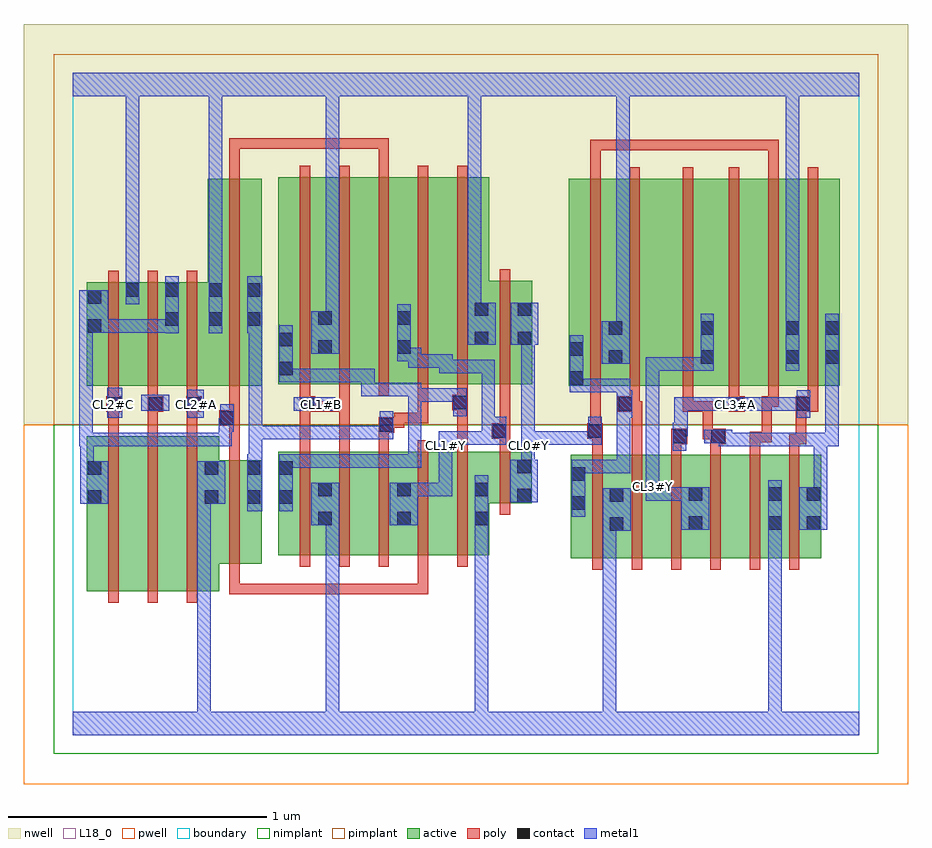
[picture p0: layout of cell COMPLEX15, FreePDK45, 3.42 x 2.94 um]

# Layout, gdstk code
import gdstk
lib = gdstk.Library(unit=1e-6, precision=1e-09)
def R(c, l, rs):  # rectangles x0, y0, x1, y1
    for r in rs: c.add(gdstk.rectangle(r[:2], r[2:], *l))
def A(c, l, x, y, w, h, nx, ny, dx, dy):  # array of equal rectangles
    R(c, l, [(x+i*dx, y+j*dy, x+i*dx+w, y+j*dy+h) for i in range(nx) for j in range(ny)])
active = (1, 0)
pwell = (2, 0)
nwell = (3, 0)
nimplant = (4, 0)
pimplant = (5, 0)
poly = (9, 0)
contact = (10, 0)
metal1 = (11, 0)
L18_0 = (18, 0)
boundary = (235, 0)

complex15 = lib.new_cell('COMPLEX15')
R(complex15, active, [(0.054,0.556,0.234,1.156), (0.054,0.556,0.114,1.156), (0.234,0.556,0.386,1.156), (0.386,0.556,0.566,1.156), (0.506,0.662,0.73,1.062), (1.924,0.684,2.132,1.084), (2.072,0.684,2.256,1.084), (2.256,0.684,2.436,1.084), (2.376,0.684,2.56,1.084), (2.56,0.684,2.744,1.084), (2.684,0.684,2.892,1.084), (0.794,0.696,1.006,1.096), (0.946,0.696,1.126,1.096), (1.126,0.696,1.31,1.096), (1.25,0.696,1.43,1.096), (1.43,0.696,1.61,1.096), (0.506,0.756,0.566,1.062), (0.67,0.756,0.73,1.062), (0.794,0.756,0.854,1.096), (0.946,0.756,1.006,0.98), (1.25,0.756,1.31,0.98), (1.924,0.756,1.984,1.084), (2.072,0.756,2.132,0.958), (2.376,0.756,2.436,0.962), (2.684,0.756,2.744,1.084), (2.832,0.756,2.892,1.084), (1.55,0.808,1.61,0.98), (1.55,0.896,1.774,1.096), (1.714,0.896,1.774,1.096), (0.054,1.35,0.262,1.75), (0.054,1.35,0.114,1.724), (0.202,1.35,0.414,1.75), (0.202,1.35,0.262,1.75), (0.354,1.35,0.414,1.75), (0.354,1.35,0.582,1.75), (0.522,1.35,0.73,2.15), (0.67,1.35,0.73,2.044), (1.916,1.35,1.976,2.044), (1.916,1.35,2.128,2.15), (2.068,1.35,2.248,2.15), (2.248,1.35,2.482,2.15), (2.422,1.35,2.632,2.15), (2.632,1.35,2.812,2.15), (2.752,1.35,2.964,2.15), (2.904,1.35,2.964,2.044), (0.794,1.356,1.006,2.156), (0.794,1.356,0.854,2.044), (0.946,1.356,1.126,2.156), (0.946,1.356,1.006,2.044), (1.126,1.356,1.31,2.156), (1.25,1.356,1.43,2.156), (1.25,1.356,1.31,2.044), (1.43,1.356,1.61,2.156), (1.55,1.356,1.776,1.756), (1.55,1.356,1.61,1.676), (1.716,1.356,1.776,1.756), (2.068,1.432,2.128,2.044), (2.422,1.432,2.482,2.044), (2.752,1.432,2.812,2.044), (0.522,1.578,0.582,1.764)])
R(complex15, pwell, [(-0.188,-0.188,3.228,1.2)])
R(complex15, nwell, [(-0.188,1.2,3.228,2.748)])
R(complex15, nimplant, [(-0.072,-0.072,3.112,1.2)])
R(complex15, pimplant, [(-0.072,1.2,3.112,2.632)])
A(complex15, poly, 0.138, 0.512, 0.04, 0.688, 3, 1, 0.152, 0)
A(complex15, poly, 2.008, 0.64, 0.04, 0.488, 6, 1, 0.152, 0)
A(complex15, poly, 0.878, 0.652, 0.04, 0.488, 5, 1, 0.152, 0)
A(complex15, poly, 0.138, 1.16, 0.04, 0.13, 3, 1, 0.152, 0)
A(complex15, poly, 0.138, 1.27, 0.04, 0.076, 3, 1, 0.152, 0)
A(complex15, poly, 2.536, 1.27, 0.04, 0.076, 3, 1, 0.152, 0)
A(complex15, poly, 0.138, 1.306, 0.04, 0.488, 3, 1, 0.152, 0)
A(complex15, poly, 2.536, 1.306, 0.04, 0.888, 3, 1, 0.152, 0)
A(complex15, poly, 0.878, 1.312, 0.04, 0.888, 5, 1, 0.152, 0)
R(complex15, poly, [(0.606,0.546,0.646,0.586), (0.606,0.546,0.646,0.586), (0.606,0.546,0.646,0.586), (0.606,0.546,0.964,0.586), (0.606,0.546,0.646,0.658), (0.924,0.546,0.964,0.586), (0.924,0.546,0.964,0.586), (0.924,0.546,0.964,0.586), (0.924,0.546,1.07,0.586), (1.03,0.546,1.07,0.586), (1.03,0.546,1.07,0.586), (1.03,0.546,1.07,0.586), (1.03,0.546,1.176,0.586), (1.136,0.546,1.176,0.586), (1.136,0.546,1.176,0.586), (1.136,0.546,1.176,0.586), (1.136,0.546,1.374,0.586), (1.334,0.546,1.374,0.692), (1.334,0.546,1.374,0.586), (1.334,0.546,1.374,0.586), (1.334,0.546,1.374,0.586), (0.606,0.618,0.646,1.106), (1.65,0.852,1.69,1.14), (0.606,1.066,0.646,1.236), (2.008,1.088,2.048,1.186), (2.16,1.088,2.2,1.29), (2.312,1.088,2.352,1.164), (2.464,1.088,2.504,1.164), (2.616,1.088,2.656,1.172), (2.768,1.088,2.808,1.164), (0.878,1.1,0.918,1.29), (1.03,1.1,1.07,1.29), (1.182,1.1,1.222,1.208), (1.486,1.1,1.526,1.296), (1.65,1.1,1.69,1.186), (2.312,1.124,2.374,1.184), (2.464,1.124,2.524,1.184), (2.768,1.124,2.834,1.164), (2.794,1.124,2.834,1.29), (2.616,1.132,2.702,1.172), (2.662,1.132,2.702,1.31), (2.434,1.144,2.474,1.29), (2.434,1.144,2.474,1.184), (2.434,1.144,2.504,1.184), (1.62,1.146,1.69,1.206), (1.988,1.146,2.048,1.206), (1.65,1.166,1.69,1.206), (1.65,1.166,1.69,1.206), (1.65,1.166,1.69,1.352), (2,1.166,2.04,1.206), (2,1.166,2.04,1.206), (2,1.166,2.04,1.346), (1.182,1.168,1.242,1.228), (1.202,1.188,1.282,1.228), (1.242,1.188,1.282,1.228), (1.242,1.188,1.282,1.246), (0.566,1.196,0.646,1.256), (1.242,1.206,1.282,1.246), (1.242,1.206,1.374,1.246), (1.334,1.206,1.374,1.352), (1.334,1.206,1.374,1.246), (0.606,1.216,0.646,1.256), (0.606,1.216,0.646,1.256), (0.606,1.216,0.646,1.346), (0.13,1.25,0.19,1.31), (0.138,1.25,0.178,1.29), (0.138,1.25,0.178,1.29), (0.29,1.25,0.33,1.29), (0.29,1.25,0.33,1.29), (0.29,1.25,0.35,1.31), (0.44,1.25,0.5,1.31), (0.442,1.25,0.482,1.29), (0.442,1.25,0.482,1.29), (0.878,1.25,0.918,1.29), (0.878,1.25,0.918,1.29), (0.878,1.25,1.07,1.29), (0.878,1.25,0.938,1.31), (1.03,1.25,1.07,1.29), (1.03,1.25,1.07,1.29), (1.03,1.25,1.07,1.29), (1.03,1.25,1.07,1.29), (1.03,1.25,1.07,1.29), (1.03,1.25,1.07,1.352), (2.106,1.25,2.192,1.31), (2.152,1.25,2.192,1.29), (2.152,1.25,2.2,1.29), (2.358,1.25,2.398,1.29), (2.358,1.25,2.474,1.29), (2.358,1.25,2.398,1.346), (2.434,1.25,2.474,1.29), (2.536,1.25,2.596,1.31), (2.794,1.25,2.88,1.31), (1.466,1.256,1.526,1.316), (1.486,1.256,1.526,1.296), (1.486,1.256,1.526,1.296), (0.878,1.27,0.918,1.352), (2.152,1.27,2.192,1.346), (2.662,1.27,2.728,1.31), (1.486,1.276,1.526,1.352), (0.606,1.306,0.646,2.194), (2,1.306,2.04,2.194), (2.152,1.306,2.192,2.194), (2.358,1.306,2.398,2.194), (1.65,1.312,1.69,1.8), (0.606,2.154,0.646,2.306), (2,2.154,2.04,2.3), (2.688,2.154,2.728,2.3), (1.182,2.16,1.222,2.306), (2,2.26,2.04,2.3), (2,2.26,2.146,2.3), (2.106,2.26,2.146,2.3), (2.106,2.26,2.146,2.3), (2.106,2.26,2.146,2.3), (2.106,2.26,2.368,2.3), (2.328,2.26,2.368,2.3), (2.328,2.26,2.368,2.3), (2.328,2.26,2.368,2.3), (2.328,2.26,2.55,2.3), (2.51,2.26,2.55,2.3), (2.51,2.26,2.55,2.3), (2.51,2.26,2.55,2.3), (2.51,2.26,2.702,2.3), (2.662,2.26,2.728,2.3), (2.662,2.26,2.702,2.3), (2.662,2.26,2.702,2.3), (0.606,2.266,0.646,2.306), (0.606,2.266,0.646,2.306), (0.606,2.266,0.646,2.306), (0.606,2.266,0.906,2.306), (0.866,2.266,0.906,2.306), (0.866,2.266,0.906,2.306), (0.866,2.266,0.906,2.306), (0.866,2.266,1.07,2.306), (1.03,2.266,1.07,2.306), (1.03,2.266,1.07,2.306), (1.03,2.266,1.07,2.306), (1.03,2.266,1.176,2.306), (1.136,2.266,1.176,2.306), (1.136,2.266,1.222,2.306), (1.182,2.266,1.222,2.306)])
R(complex15, contact, [(2.076,0.79,2.128,0.842), (2.38,0.794,2.432,0.846), (2.688,0.794,2.74,0.846), (2.836,0.794,2.888,0.846), (0.95,0.812,1.002,0.864), (1.254,0.812,1.306,0.864), (1.554,0.812,1.606,0.864), (1.928,0.872,1.98,0.924), (0.058,0.894,0.11,0.946), (0.51,0.894,0.562,0.946), (0.674,0.894,0.726,0.946), (0.798,0.894,0.85,0.946), (1.718,0.9,1.77,0.952), (2.076,0.902,2.128,0.954), (2.38,0.906,2.432,0.958), (2.688,0.906,2.74,0.958), (2.836,0.906,2.888,0.958), (0.95,0.924,1.002,0.976), (1.254,0.924,1.306,0.976), (1.554,0.924,1.606,0.976), (1.928,0.984,1.98,1.036), (0.058,1.006,0.11,1.058), (0.51,1.006,0.562,1.058), (0.674,1.006,0.726,1.058), (0.798,1.006,0.85,1.058), (1.718,1.012,1.77,1.064), (2.318,1.128,2.37,1.18), (2.468,1.128,2.52,1.18), (1.624,1.15,1.676,1.202), (1.992,1.15,2.044,1.202), (1.186,1.172,1.238,1.224), (0.57,1.2,0.622,1.252), (0.134,1.254,0.186,1.306), (0.294,1.254,0.346,1.306), (0.444,1.254,0.496,1.306), (0.882,1.254,0.934,1.306), (2.11,1.254,2.162,1.306), (2.54,1.254,2.592,1.306), (2.798,1.254,2.85,1.306), (1.47,1.26,1.522,1.312), (1.92,1.354,1.972,1.406), (0.798,1.392,0.85,1.444), (2.072,1.436,2.124,1.488), (2.426,1.436,2.478,1.488), (2.756,1.436,2.808,1.488), (2.908,1.436,2.96,1.488), (1.92,1.466,1.972,1.518), (0.95,1.474,1.002,1.526), (1.254,1.474,1.306,1.526), (0.798,1.504,0.85,1.556), (1.554,1.508,1.606,1.56), (1.72,1.508,1.772,1.56), (2.072,1.548,2.124,1.6), (2.426,1.548,2.478,1.6), (2.756,1.548,2.808,1.6), (2.908,1.548,2.96,1.6), (0.058,1.556,0.11,1.608), (0.358,1.582,0.41,1.634), (0.526,1.582,0.578,1.634), (0.674,1.582,0.726,1.634), (0.95,1.586,1.002,1.638), (1.254,1.586,1.306,1.638), (1.554,1.62,1.606,1.672), (1.72,1.62,1.772,1.672), (0.058,1.668,0.11,1.72), (0.206,1.694,0.258,1.746), (0.358,1.694,0.41,1.746), (0.526,1.694,0.578,1.746), (0.674,1.694,0.726,1.746)])
R(complex15, metal1, [(0,0,3.04,0.092), (0.482,0.04,0.534,0.946), (0.978,0.04,1.03,0.864), (1.554,0.04,1.606,0.836), (2.048,0.04,2.1,0.092), (2.048,0.04,2.1,0.092), (2.048,0.04,2.1,0.842), (2.688,0.04,2.74,0.092), (2.688,0.04,2.74,0.092), (2.688,0.04,2.74,0.092), (2.688,0.04,2.74,0.092), (2.688,0.04,2.74,0.092), (2.688,0.04,2.74,0.092), (2.688,0.04,2.74,0.092), (2.688,0.04,2.74,0.092), (2.688,0.04,2.74,0.092), (2.688,0.04,2.74,0.092), (2.688,0.04,2.74,0.092), (2.688,0.04,2.74,0.092), (2.688,0.04,2.74,0.818), (2.688,0.766,2.74,0.986), (1.554,0.784,1.606,0.836), (1.554,0.784,1.606,0.836), (1.554,0.784,1.606,0.836), (1.554,0.784,1.606,0.836), (1.554,0.784,1.606,0.836), (1.554,0.784,1.606,0.836), (1.554,0.784,1.606,0.836), (1.554,0.784,1.606,0.836), (1.554,0.784,1.606,0.836), (1.554,0.784,1.606,0.836), (1.554,0.784,1.606,0.836), (1.554,0.784,1.606,0.836), (1.554,0.784,1.606,1.004), (2.048,0.79,2.1,0.842), (2.048,0.79,2.1,0.842), (2.048,0.79,2.1,0.842), (2.048,0.79,2.1,0.842), (2.048,0.79,2.1,0.842), (2.048,0.79,2.1,0.842), (2.048,0.79,2.1,0.842), (2.048,0.79,2.1,0.842), (2.048,0.79,2.1,0.842), (2.048,0.79,2.1,0.842), (2.048,0.79,2.156,0.954), (2.352,0.794,2.46,0.958), (2.808,0.794,2.916,0.958), (0.922,0.812,1.03,0.976), (0.978,0.812,1.03,0.864), (0.978,0.812,1.03,0.864), (0.978,0.812,1.03,0.864), (0.978,0.812,1.03,0.864), (0.978,0.812,1.03,0.864), (0.978,0.812,1.03,0.864), (0.978,0.812,1.03,0.864), (0.978,0.812,1.03,0.864), (0.978,0.812,1.03,0.864), (0.978,0.812,1.03,0.864), (0.978,0.812,1.03,0.864), (0.978,0.812,1.03,0.864), (1.226,0.812,1.334,0.976), (1.928,0.844,1.98,1.064), (0.674,0.866,0.732,1.086), (0.798,0.866,0.85,1.086), (0.03,0.894,0.138,1.058), (0.482,0.894,0.534,0.946), (0.482,0.894,0.534,0.946), (0.482,0.894,0.534,0.946), (0.482,0.894,0.534,0.946), (0.482,0.894,0.534,0.946), (0.482,0.894,0.534,0.946), (0.482,0.894,0.534,0.946), (0.482,0.894,0.534,0.946), (0.482,0.894,0.59,1.058), (1.69,0.9,1.798,1.064), (2.214,0.906,2.266,0.958), (2.214,0.906,2.266,0.958), (2.214,0.906,2.266,1.014), (2.214,0.906,2.382,0.958), (2.33,0.906,2.382,0.958), (2.33,0.906,2.404,0.958), (2.864,0.906,2.916,1.168), (1.282,0.924,1.348,0.976), (1.296,0.924,1.348,0.976), (1.296,0.924,1.466,0.976), (1.414,0.924,1.466,0.976), (1.414,0.924,1.466,0.976), (1.414,0.924,1.466,0.976), (1.414,0.924,1.466,1.118), (2.214,0.962,2.266,1.014), (2.214,0.962,2.266,1.014), (2.214,0.962,2.266,1.46), (0.03,1.006,0.082,1.168), (1.734,1.012,1.786,1.118), (1.928,1.012,1.98,1.064), (1.928,1.012,1.98,1.064), (1.928,1.012,2.154,1.064), (2.102,1.012,2.154,1.064), (2.102,1.012,2.154,1.278), (0.68,1.034,0.732,1.196), (0.798,1.034,0.85,1.086), (0.798,1.034,0.85,1.086), (0.798,1.034,1.014,1.086), (0.962,1.034,1.014,1.086), (0.962,1.034,1.014,1.086), (0.962,1.034,1.014,1.086), (0.962,1.034,1.124,1.086), (1.072,1.034,1.124,1.086), (1.072,1.034,1.124,1.086), (1.072,1.034,1.124,1.086), (1.072,1.034,1.348,1.086), (1.296,1.034,1.348,1.086), (1.296,1.034,1.348,1.086), (1.296,1.034,1.348,1.086), (1.296,1.034,1.348,1.34), (1.414,1.066,1.466,1.174), (1.734,1.066,1.786,1.174), (2.318,1.1,2.37,1.208), (0.026,1.116,0.078,1.168), (0.026,1.116,0.078,1.168), (0.026,1.116,0.078,1.608), (0.026,1.116,0.082,1.168), (0.03,1.116,0.082,1.168), (0.03,1.116,0.082,1.168), (0.03,1.116,0.3,1.168), (0.248,1.116,0.3,1.168), (0.248,1.116,0.3,1.168), (0.248,1.116,0.3,1.168), (0.248,1.116,0.424,1.168), (0.372,1.116,0.424,1.168), (0.372,1.116,0.424,1.168), (0.372,1.116,0.424,1.168), (0.372,1.116,0.616,1.168), (0.564,1.116,0.616,1.224), (2.496,1.116,2.73,1.168), (2.496,1.116,2.548,1.18), (2.678,1.116,2.73,1.168), (2.678,1.116,2.73,1.168), (2.678,1.116,2.73,1.168), (2.678,1.116,2.916,1.168), (2.864,1.116,2.916,1.168), (2.864,1.116,2.916,1.168), (2.864,1.116,2.96,1.168), (2.908,1.116,2.96,1.46), (1.414,1.122,1.466,1.174), (1.414,1.122,1.466,1.174), (1.414,1.122,1.632,1.174), (1.58,1.122,1.632,1.174), (1.58,1.122,1.632,1.174), (1.58,1.122,1.632,1.174), (1.58,1.122,1.676,1.174), (1.58,1.122,1.632,1.45), (1.624,1.122,1.676,1.23), (1.734,1.122,1.786,1.174), (1.734,1.122,1.786,1.174), (1.734,1.122,1.786,1.174), (1.734,1.122,1.786,1.174), (1.734,1.122,2.044,1.174), (1.734,1.122,1.786,1.56), (1.992,1.122,2.044,1.23), (2.44,1.128,2.548,1.18), (2.496,1.128,2.548,1.18), (0.68,1.144,0.732,1.196), (0.68,1.144,0.732,1.196), (0.68,1.144,0.732,1.196), (0.68,1.144,0.732,1.196), (0.68,1.144,0.732,1.196), (0.68,1.144,0.904,1.196), (0.68,1.144,0.732,1.606), (0.852,1.144,0.904,1.196), (0.852,1.144,1.014,1.196), (0.962,1.144,1.014,1.196), (0.962,1.144,1.014,1.196), (0.962,1.144,1.014,1.196), (0.962,1.144,1.124,1.196), (1.072,1.144,1.124,1.196), (1.072,1.144,1.238,1.196), (1.186,1.144,1.238,1.252), (2.318,1.156,2.376,1.208), (2.324,1.156,2.376,1.208), (2.324,1.156,2.376,1.306), (0.564,1.172,0.622,1.224), (0.57,1.172,0.622,1.28), (0.134,1.226,0.192,1.342), (0.444,1.226,0.506,1.336), (2.102,1.226,2.154,1.278), (2.102,1.226,2.154,1.278), (2.102,1.226,2.154,1.278), (2.102,1.226,2.162,1.278), (2.102,1.226,2.154,1.378), (2.11,1.226,2.162,1.334), (2.798,1.226,2.85,1.334), (1.47,1.232,1.522,1.34), (0.266,1.254,0.374,1.316), (0.854,1.254,1.014,1.306), (2.324,1.254,2.376,1.306), (2.324,1.254,2.558,1.306), (2.506,1.254,2.62,1.306), (2.568,1.254,2.62,1.306), (2.568,1.254,2.62,1.306), (2.568,1.254,2.73,1.306), (2.678,1.254,2.73,1.306), (2.678,1.254,2.73,1.306), (2.678,1.254,2.73,1.306), (2.678,1.254,2.85,1.306), (1.296,1.288,1.348,1.34), (1.296,1.288,1.348,1.34), (1.296,1.288,1.458,1.34), (1.296,1.288,1.348,1.362), (1.406,1.288,1.458,1.34), (1.406,1.288,1.522,1.34), (1.116,1.31,1.168,1.362), (1.116,1.31,1.168,1.362), (1.116,1.31,1.168,1.362), (1.116,1.31,1.168,1.416), (1.116,1.31,1.348,1.362), (1.92,1.326,1.972,1.378), (1.92,1.326,1.972,1.378), (1.92,1.326,1.972,1.546), (1.92,1.326,2.154,1.378), (2.102,1.326,2.154,1.378), (0.798,1.364,0.85,1.416), (0.798,1.364,0.85,1.416), (0.798,1.364,0.85,1.584), (0.798,1.364,1.014,1.416), (0.962,1.364,1.014,1.416), (0.962,1.364,1.014,1.416), (0.962,1.364,1.014,1.416), (0.962,1.364,1.168,1.416), (1.116,1.364,1.168,1.416), (1.416,1.398,1.468,1.45), (1.416,1.398,1.468,1.45), (1.416,1.398,1.632,1.45), (1.416,1.398,1.468,1.472), (1.58,1.398,1.632,1.45), (2.214,1.408,2.266,1.46), (2.214,1.408,2.382,1.46), (2.33,1.408,2.382,1.46), (2.33,1.408,2.478,1.46), (2.426,1.408,2.478,1.628), (2.756,1.408,2.808,1.628), (2.908,1.408,2.96,1.46), (2.908,1.408,2.96,1.46), (2.908,1.408,2.96,1.628), (1.296,1.42,1.468,1.472), (1.296,1.42,1.348,1.498), (2.044,1.436,2.152,1.6), (1.254,1.446,1.306,1.666), (1.254,1.446,1.348,1.498), (0.922,1.474,1.03,1.638), (1.526,1.508,1.634,1.672), (1.692,1.508,1.8,1.672), (2.1,1.548,2.152,1.6), (2.1,1.548,2.152,1.6), (2.1,1.548,2.152,1.6), (2.1,1.548,2.152,1.6), (2.1,1.548,2.152,1.6), (2.1,1.548,2.152,1.6), (2.1,1.548,2.152,1.6), (2.1,1.548,2.152,1.6), (2.1,1.548,2.152,2.52), (0.358,1.554,0.41,1.774), (0.526,1.554,0.578,1.774), (0.674,1.554,0.732,1.774), (0.026,1.556,0.138,1.72), (0.086,1.556,0.138,1.608), (0.086,1.556,0.138,1.608), (0.086,1.556,0.3,1.608), (0.248,1.556,0.3,1.608), (0.248,1.556,0.3,1.608), (0.248,1.556,0.3,1.608), (0.248,1.556,0.41,1.608), (2.756,1.576,2.808,1.628), (2.756,1.576,2.808,1.628), (2.756,1.576,2.808,1.628), (2.756,1.576,2.808,1.628), (2.756,1.576,2.808,1.628), (2.756,1.576,2.808,1.628), (2.756,1.576,2.808,1.628), (2.756,1.576,2.808,1.628), (2.756,1.576,2.808,2.52), (0.978,1.586,1.03,2.52), (1.526,1.62,1.578,1.672), (1.526,1.62,1.578,1.672), (1.526,1.62,1.578,1.672), (1.526,1.62,1.578,1.672), (1.526,1.62,1.578,1.672), (1.526,1.62,1.578,1.672), (1.526,1.62,1.578,1.672), (1.526,1.62,1.578,1.672), (1.526,1.62,1.578,2.52), (0.206,1.666,0.258,1.774), (0.206,1.722,0.258,1.774), (0.206,1.722,0.258,1.774), (0.206,1.722,0.258,1.774), (0.206,1.722,0.258,1.774), (0.206,1.722,0.258,1.774), (0.206,1.722,0.258,1.774), (0.206,1.722,0.258,1.774), (0.206,1.722,0.258,1.774), (0.206,1.722,0.258,1.774), (0.206,1.722,0.258,1.774), (0.206,1.722,0.258,1.774), (0.206,1.722,0.258,1.774), (0.206,1.722,0.258,1.774), (0.206,1.722,0.258,1.774), (0.206,1.722,0.258,1.774), (0.206,1.722,0.258,1.774), (0.206,1.722,0.258,2.52), (0.526,1.722,0.578,1.774), (0.526,1.722,0.578,1.774), (0.526,1.722,0.578,1.774), (0.526,1.722,0.578,1.774), (0.526,1.722,0.578,1.774), (0.526,1.722,0.578,1.774), (0.526,1.722,0.578,1.774), (0.526,1.722,0.578,1.774), (0.526,1.722,0.578,2.52), (0,2.468,3.04,2.56), (0.978,2.468,1.03,2.52), (0.978,2.468,1.03,2.52), (0.978,2.468,1.03,2.52), (0.978,2.468,1.03,2.52), (0.978,2.468,1.03,2.52), (0.978,2.468,1.03,2.52), (0.978,2.468,1.03,2.52), (0.978,2.468,1.03,2.52)])
A(complex15, L18_0, 2.214, 0.906, 0.052, 0.052, 1, 3, 0, 0.028)
A(complex15, L18_0, 0.134, 1.254, 0.052, 0.052, 3, 1, 0.16, 0)
R(complex15, L18_0, [(0,0,3.04,0.092), (0.482,0.04,0.534,0.946), (0.978,0.04,1.03,0.864), (1.554,0.04,1.606,0.836), (2.048,0.04,2.1,0.092), (2.048,0.04,2.1,0.092), (2.048,0.04,2.1,0.842), (2.688,0.04,2.74,0.092), (2.688,0.04,2.74,0.092), (2.688,0.04,2.74,0.092), (2.688,0.04,2.74,0.092), (2.688,0.04,2.74,0.092), (2.688,0.04,2.74,0.092), (2.688,0.04,2.74,0.092), (2.688,0.04,2.74,0.092), (2.688,0.04,2.74,0.092), (2.688,0.04,2.74,0.092), (2.688,0.04,2.74,0.092), (2.688,0.04,2.74,0.092), (2.688,0.04,2.74,0.818), (2.688,0.766,2.74,0.986), (1.554,0.784,1.606,0.836), (1.554,0.784,1.606,0.836), (1.554,0.784,1.606,0.836), (1.554,0.784,1.606,0.836), (1.554,0.784,1.606,0.836), (1.554,0.784,1.606,0.836), (1.554,0.784,1.606,0.836), (1.554,0.784,1.606,0.836), (1.554,0.784,1.606,0.836), (1.554,0.784,1.606,0.836), (1.554,0.784,1.606,0.836), (1.554,0.784,1.606,0.836), (1.554,0.784,1.606,1.004), (2.048,0.79,2.1,0.842), (2.048,0.79,2.1,0.842), (2.048,0.79,2.1,0.842), (2.048,0.79,2.1,0.842), (2.048,0.79,2.1,0.842), (2.048,0.79,2.1,0.842), (2.048,0.79,2.1,0.842), (2.048,0.79,2.1,0.842), (2.048,0.79,2.1,0.842), (2.048,0.79,2.1,0.842), (2.048,0.79,2.156,0.954), (2.352,0.794,2.46,0.958), (0.922,0.812,1.03,0.976), (0.978,0.812,1.03,0.864), (0.978,0.812,1.03,0.864), (0.978,0.812,1.03,0.864), (0.978,0.812,1.03,0.864), (0.978,0.812,1.03,0.864), (0.978,0.812,1.03,0.864), (0.978,0.812,1.03,0.864), (0.978,0.812,1.03,0.864), (0.978,0.812,1.03,0.864), (0.978,0.812,1.03,0.864), (0.978,0.812,1.03,0.864), (0.978,0.812,1.03,0.864), (1.226,0.812,1.334,0.976), (0.482,0.894,0.534,0.946), (0.482,0.894,0.534,0.946), (0.482,0.894,0.534,0.946), (0.482,0.894,0.534,0.946), (0.482,0.894,0.534,0.946), (0.482,0.894,0.534,0.946), (0.482,0.894,0.534,0.946), (0.482,0.894,0.534,0.946), (0.482,0.894,0.59,1.058), (1.69,0.9,1.798,1.064), (2.214,0.906,2.266,1.014), (2.214,0.906,2.266,0.958), (2.214,0.906,2.382,0.958), (2.33,0.906,2.382,0.958), (2.33,0.906,2.404,0.958), (1.282,0.924,1.348,0.976), (1.296,0.924,1.348,0.976), (1.296,0.924,1.466,0.976), (1.414,0.924,1.466,0.976), (1.414,0.924,1.466,0.976), (1.414,0.924,1.466,0.976), (1.414,0.924,1.466,1.118), (2.214,0.962,2.266,1.014), (2.214,0.962,2.266,1.46), (1.734,1.012,1.786,1.118), (1.414,1.066,1.466,1.174), (1.734,1.066,1.786,1.174), (1.414,1.094,1.466,1.146), (1.734,1.094,1.786,1.146), (2.318,1.1,2.37,1.208), (1.414,1.122,1.466,1.174), (1.414,1.122,1.466,1.174), (1.414,1.122,1.632,1.174), (1.58,1.122,1.632,1.174), (1.58,1.122,1.632,1.174), (1.58,1.122,1.632,1.174), (1.58,1.122,1.632,1.45), (1.58,1.122,1.676,1.174), (1.624,1.122,1.676,1.23), (1.734,1.122,1.786,1.174), (1.734,1.122,1.786,1.174), (1.734,1.122,1.786,1.174), (1.734,1.122,1.786,1.174), (1.734,1.122,1.786,1.56), (1.734,1.122,2.044,1.174), (1.992,1.122,2.044,1.23), (2.318,1.156,2.376,1.208), (2.324,1.156,2.376,1.208), (2.324,1.156,2.376,1.306), (0.134,1.226,0.192,1.342), (0.444,1.226,0.506,1.336), (2.798,1.226,2.85,1.334), (0.266,1.254,0.374,1.316), (0.854,1.254,1.014,1.306), (0.934,1.254,0.986,1.306), (2.324,1.254,2.376,1.306), (2.324,1.254,2.558,1.306), (2.506,1.254,2.62,1.306), (2.534,1.254,2.586,1.306), (2.568,1.254,2.62,1.306), (2.568,1.254,2.62,1.306), (2.568,1.254,2.73,1.306), (2.678,1.254,2.73,1.306), (2.678,1.254,2.73,1.306), (2.678,1.254,2.73,1.306), (2.678,1.254,2.85,1.306), (1.416,1.398,1.468,1.45), (1.416,1.398,1.468,1.45), (1.416,1.398,1.468,1.472), (1.416,1.398,1.632,1.45), (1.58,1.398,1.632,1.45), (2.214,1.408,2.266,1.46), (2.214,1.408,2.382,1.46), (2.33,1.408,2.382,1.46), (2.33,1.408,2.478,1.46), (2.426,1.408,2.478,1.628), (2.756,1.408,2.808,1.628), (1.296,1.42,1.348,1.498), (1.296,1.42,1.468,1.472), (2.044,1.436,2.152,1.6), (1.254,1.446,1.306,1.666), (1.254,1.446,1.348,1.498), (0.922,1.474,1.03,1.638), (1.526,1.508,1.634,1.672), (1.692,1.508,1.8,1.672), (2.1,1.548,2.152,1.6), (2.1,1.548,2.152,1.6), (2.1,1.548,2.152,1.6), (2.1,1.548,2.152,1.6), (2.1,1.548,2.152,1.6), (2.1,1.548,2.152,1.6), (2.1,1.548,2.152,1.6), (2.1,1.548,2.152,1.6), (2.1,1.548,2.152,2.52), (0.526,1.554,0.578,1.774), (2.756,1.576,2.808,1.628), (2.756,1.576,2.808,1.628), (2.756,1.576,2.808,1.628), (2.756,1.576,2.808,1.628), (2.756,1.576,2.808,1.628), (2.756,1.576,2.808,1.628), (2.756,1.576,2.808,1.628), (2.756,1.576,2.808,1.628), (2.756,1.576,2.808,2.52), (0.978,1.586,1.03,2.52), (1.526,1.62,1.578,1.672), (1.526,1.62,1.578,1.672), (1.526,1.62,1.578,1.672), (1.526,1.62,1.578,1.672), (1.526,1.62,1.578,1.672), (1.526,1.62,1.578,1.672), (1.526,1.62,1.578,1.672), (1.526,1.62,1.578,1.672), (1.526,1.62,1.578,2.52), (0.206,1.666,0.258,1.774), (0.206,1.722,0.258,1.774), (0.206,1.722,0.258,1.774), (0.206,1.722,0.258,1.774), (0.206,1.722,0.258,1.774), (0.206,1.722,0.258,1.774), (0.206,1.722,0.258,1.774), (0.206,1.722,0.258,1.774), (0.206,1.722,0.258,1.774), (0.206,1.722,0.258,1.774), (0.206,1.722,0.258,1.774), (0.206,1.722,0.258,1.774), (0.206,1.722,0.258,1.774), (0.206,1.722,0.258,1.774), (0.206,1.722,0.258,1.774), (0.206,1.722,0.258,1.774), (0.206,1.722,0.258,1.774), (0.206,1.722,0.258,2.52), (0.526,1.722,0.578,1.774), (0.526,1.722,0.578,1.774), (0.526,1.722,0.578,1.774), (0.526,1.722,0.578,1.774), (0.526,1.722,0.578,1.774), (0.526,1.722,0.578,1.774), (0.526,1.722,0.578,1.774), (0.526,1.722,0.578,1.774), (0.526,1.722,0.578,2.52), (0,2.468,3.04,2.56), (0.978,2.468,1.03,2.52), (0.978,2.468,1.03,2.52), (0.978,2.468,1.03,2.52), (0.978,2.468,1.03,2.52), (0.978,2.468,1.03,2.52), (0.978,2.468,1.03,2.52), (0.978,2.468,1.03,2.52), (0.978,2.468,1.03,2.52)])
R(complex15, boundary, [(0,0,3.04,2.56)])
complex15.add(gdstk.Label('CL0#Y', (1.76,1.12), layer=11, texttype=0))
complex15.add(gdstk.Label('CL1#B', (0.96,1.28), layer=11, texttype=0))
complex15.add(gdstk.Label('CL1#Y', (1.44,1.12), layer=11, texttype=0))
complex15.add(gdstk.Label('CL2#A', (0.48,1.28), layer=11, texttype=0))
complex15.add(gdstk.Label('CL2#B', (0.32,1.28), layer=11, texttype=0))
complex15.add(gdstk.Label('CL2#C', (0.16,1.28), layer=11, texttype=0))
complex15.add(gdstk.Label('CL3#A', (2.56,1.28), layer=11, texttype=0))
complex15.add(gdstk.Label('CL3#Y', (2.24,0.96), layer=11, texttype=0))

lib.write_gds('COMPLEX15.gds')
